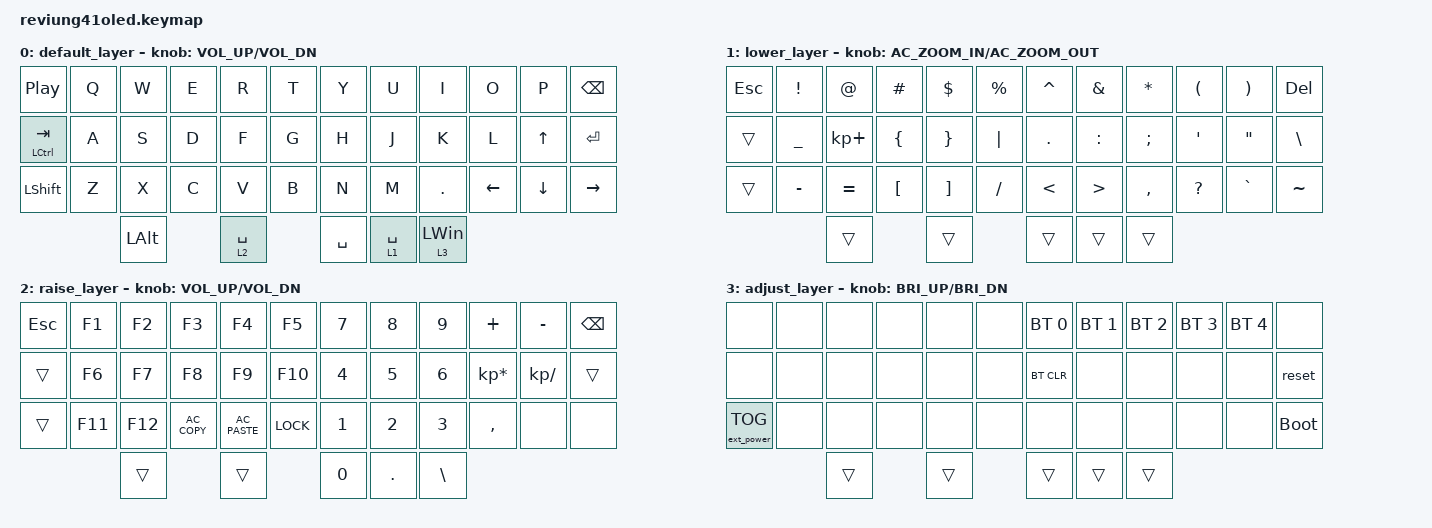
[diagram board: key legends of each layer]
/*
 * Copyright (c) 2020 The ZMK Contributors
 *
 * SPDX-License-Identifier: MIT
 */

#include <behaviors.dtsi>
#include <dt-bindings/zmk/keys.h>
#include <dt-bindings/zmk/rgb.h>
#include <dt-bindings/zmk/bt.h>
#include <dt-bindings/zmk/outputs.h>
#include <dt-bindings/zmk/ext_power.h>

/ {

        keymap {
                compatible = "zmk,keymap";

                default_layer {
// -------------------------------------------------------------------------------------
// | VOL     |  Q  |  W  |  E  |  R  |  T  |   |  Y  |  U   |  I  |  O  |  P  |    BKSP   |
// | TAB/CRT |  A  |  S  |  D  |  F  |  G  |   |  H  |  J   |  K  |  L  |  UP |    ENTER  |
// | SHFT    |  Z  |  X  |  C  |  V  |  B  |   |  N  |  M   |  .  | LFT |  DWN|    RGT    |
//                         | ALT | RSE | SPC | LWR  | ESC |
                        bindings = <
   &kp C_PP      &kp Q &kp W &kp E &kp R &kp T     &kp Y &kp U  &kp I     &kp O    &kp P    &kp BKSP
   &mt LCTRL TAB &kp A &kp S &kp D &kp F &kp G     &kp H &kp J  &kp K     &kp L    &kp UP   &kp RET
   &kp LSHFT     &kp Z &kp X &kp C &kp V &kp B     &kp N &kp M  &kp DOT   &kp LEFT &kp DOWN &kp RIGHT
                        &kp LALT   &lt 2 SPACE &kp SPACE &lt 1 SPACE &lt 3 LWIN
                        >;
                        sensor-bindings = <&inc_dec_kp C_VOL_UP C_VOL_DN>;
                };

                lower_layer {
// ----------------------------------------------------------------------------------
// |    |  !  |  @  |  #  |  $  |  %  |   |  ^  |  &  |  *  |  (  |  )  | DEL |
// |    |  _  |  +  |  {  |  }  | "|" |   |  .  |  :  |  ;  |  '  |  "  | \   |
// |    |  -  |  =  |  [  |  ]  |  /  |   |  <  |  >  |  ,  |  ?  |  `  |  ~  |
//                       |     |     | RET | ADJ |     |
                        bindings = <
   &kp ESC &kp EXCL       &kp AT      &kp HASH  &kp DLLR  &kp PRCNT       &kp CARET   &kp AMPS     &kp STAR    &kp LPAR      &kp RPAR    &kp DEL
   &trans  &kp UNDERSCORE &kp KP_PLUS &kp LBRC  &kp RBRC  &kp PIPE        &kp DOT     &kp COLON    &kp SEMI   &kp APOS      &kp DQT     &kp BSLH
   &trans  &kp MINUS      &kp EQUAL   &kp LBKT  &kp RBKT  &kp SLASH       &kp LT      &kp GT       &kp COMMA  &kp QMARK   &kp GRAVE   &kp TILDE
                                          &trans      &trans       &trans        &trans    &trans
                        >;
                        sensor-bindings = <&inc_dec_kp C_AC_ZOOM_IN C_AC_ZOOM_OUT>;
                };

                raise_layer {
// -----------------------------------------------------------------------------------------
// |    |   F1  |   F2  |  F3  |  F4  |  F5   |   |  7  |  8  |  9  |  +  |  -  | BKSP  |
// |    |   F6  |   F7  |  F8  |  F9  |  F10  |   |  4  |  5  |  6  |  .  |  :  |   =   |
// |    |   F11 |   F12 | COPY | PASTE|  Lock |   |  1  |  2  |  3  |  ,  |     |       |
//                       |     | ADJ  | 0 |  .  |  \  |
                        bindings = <
   &kp ESC &kp F1   &kp F2   &kp F3         &kp F4           &kp F5         &kp N7    &kp N8    &kp N9     &kp PLUS          &kp MINUS      &kp BKSP
   &trans  &kp F6   &kp F7   &kp F8         &kp F9           &kp F10        &kp N4    &kp N5    &kp N6     &kp KP_MULTIPLY   &kp KP_DIVIDE  &trans
   &trans  &kp F11  &kp F12  &kp C_AC_COPY  &kp C_AC_PASTE   &kp K_LOCK   &kp N1    &kp N2    &kp N3     &kp COMMA         &none          &none
                                &trans   &trans     &kp N0      &kp DOT     &kp BSLH
                        >;
                        sensor-bindings = <&inc_dec_kp C_VOL_UP C_VOL_DN>;
                };

                adjust_layer {
// -----------------------------------------------------------------------------------------
// |    |       |     |    |    |       |        |  BT1    | BT2 | BT3 | BT4 | BT5 | BT CLR |
// |    |       |     |    |    |       |        |  BT CLR |     |     |     |     |        |
// |    |  RGB  |     |    |    |       |        |         |     |     |     |     |        |
//                           |     |    |    |     |   |
                        bindings = <
   &none             &none &none  &none &none &none             &bt BT_SEL 0 &bt BT_SEL 1 &bt BT_SEL 2 &bt BT_SEL 3 &bt BT_SEL 4  &none      
   &none             &none &none  &none &none &none             &bt BT_CLR  &none        &none        &none         &none         &reset
   &ext_power EP_TOG &none &none  &none &none &none             &none       &none        &none        &none         &none         &bootloader
                                &trans      &trans     &trans        &trans      &trans
                        >;
                        sensor-bindings = <&inc_dec_kp C_BRI_UP C_BRI_DN>;
                };
        };
};
